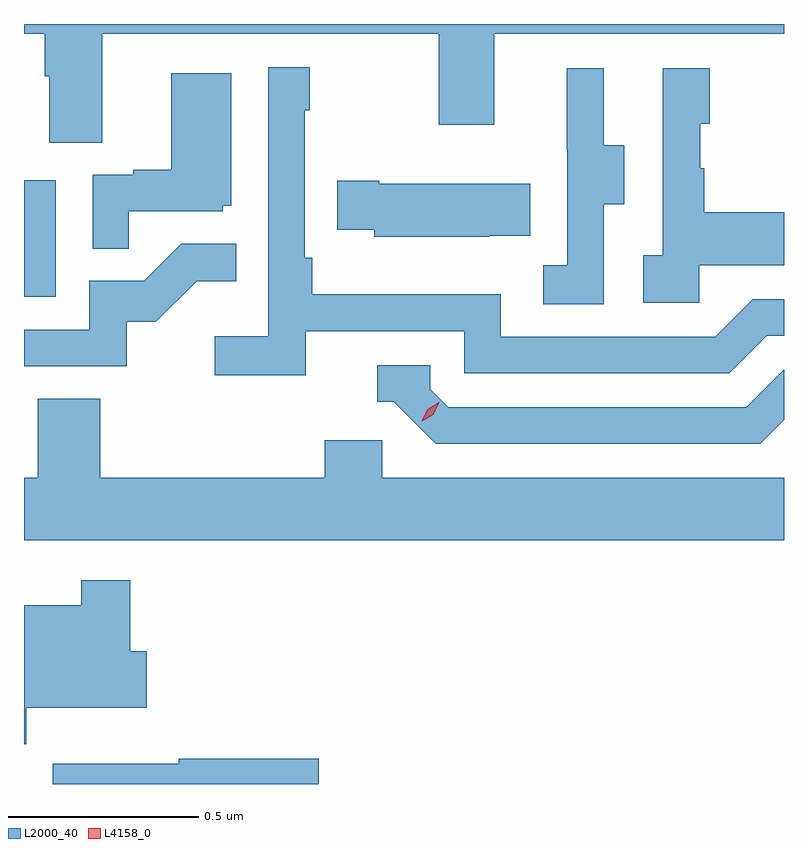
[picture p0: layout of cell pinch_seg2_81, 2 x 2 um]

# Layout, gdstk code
import gdstk
lib = gdstk.Library(unit=1e-6, precision=1e-09)
def R(c, l, rs):  # rectangles x0, y0, x1, y1
    for r in rs: c.add(gdstk.rectangle(r[:2], r[2:], *l))
def P(c, l, *ps):  # polygons
    for p in ps: c.add(gdstk.Polygon(p, *l))
L2000_40 = (2000, 40)
L4158_0 = (4158, 0)

pinch_seg2_81 = lib.new_cell('pinch_seg2_81')
R(pinch_seg2_81, L2000_40, [(1058.285,650.94,1058.368,651.247)])
P(pinch_seg2_81, L2000_40, [(1058.491,651.632),(1059.376,651.632),(1059.376,651.393),(1059.523,651.393),(1059.523,651.632),(1060.285,651.632),(1060.285,651.658),(1058.285,651.658),(1058.285,651.632),(1058.339,651.632),(1058.339,651.52),(1058.351,651.52),(1058.351,651.346),(1058.491,651.346)],
  [(1059.026,650.85),(1059.444,650.85),(1059.444,650.739),(1060.141,650.739),(1060.24,650.838),(1060.285,650.838),(1060.285,650.934),(1060.203,650.934),(1060.104,650.835),(1059.54,650.835),(1059.54,650.947),(1059.044,650.947),(1059.044,651.043),(1059.024,651.043),(1059.024,651.431),(1059.037,651.431),(1059.037,651.544),(1058.928,651.544),(1058.928,650.836),(1058.787,650.836),(1058.787,650.734),(1059.026,650.734)],
  [(1060.062,651.023),(1060.285,651.023),(1060.285,651.163),(1060.075,651.163),(1060.075,651.278),(1060.065,651.278),(1060.065,651.396),(1060.09,651.396),(1060.09,651.541),(1059.966,651.541),(1059.966,651.05),(1059.915,651.05),(1059.915,650.925),(1060.062,650.925)],
  [(1059.81,651.184),(1059.865,651.184),(1059.865,651.339),(1059.811,651.339),(1059.811,651.541),(1059.713,651.541),(1059.713,651.327),(1059.714,651.327),(1059.714,651.023),(1059.651,651.023),(1059.651,650.92),(1059.81,650.92)],
  [(1058.561,651.165),(1058.808,651.165),(1058.808,651.18),(1058.83,651.18),(1058.83,651.529),(1058.672,651.529),(1058.672,651.274),(1058.573,651.274),(1058.573,651.261),(1058.466,651.261),(1058.466,651.067),(1058.561,651.067)],
  [(1059.509,651.101),(1059.617,651.101),(1059.617,651.238),(1059.22,651.238),(1059.22,651.246),(1059.109,651.246),(1059.109,651.116),(1059.207,651.116),(1059.207,651.098),(1059.509,651.098)],
  [(1058.556,650.874),(1058.632,650.874),(1058.739,650.981),(1058.843,650.981),(1058.843,651.08),(1058.699,651.08),(1058.601,650.982),(1058.457,650.982),(1058.457,650.853),(1058.285,650.853),(1058.285,650.757),(1058.556,650.757)],
  [(1060.285,650.616),(1060.285,650.748),(1060.284,650.748),(1060.185,650.649),(1059.402,650.649),(1059.354,650.697),(1059.354,650.76),(1059.215,650.76),(1059.215,650.664),(1059.258,650.664),(1059.369,650.553),(1060.222,650.553)],
  [(1060.285,650.464),(1059.228,650.464),(1059.228,650.562),(1059.077,650.562),(1059.077,650.464),(1058.486,650.464),(1058.486,650.672),(1058.321,650.672),(1058.321,650.464),(1058.285,650.464),(1058.285,650.3),(1060.285,650.3)],
  [(1058.291,649.859),(1058.608,649.859),(1058.608,650.007),(1058.564,650.007),(1058.564,650.194),(1058.436,650.194),(1058.436,650.128),(1058.285,650.128),(1058.285,649.763),(1058.291,649.763)],
  [(1059.061,649.724),(1058.692,649.724),(1058.692,649.711),(1058.36,649.711),(1058.36,649.658),(1059.061,649.658)])
P(pinch_seg2_81, L4158_0, [(1059.331,650.611),(1059.331,650.611),(1059.347,650.644),(1059.377,650.663),(1059.378,650.663),(1059.378,650.663),(1059.362,650.63),(1059.331,650.611)])

lib.write_gds('pinch_seg2_81.gds')
